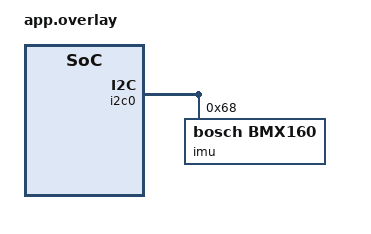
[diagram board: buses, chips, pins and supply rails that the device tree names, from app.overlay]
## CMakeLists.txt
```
# SPDX-License-Identifier: Apache-2.0

cmake_minimum_required(VERSION 3.20.0)

# Same board as samples/drv8235_diag: the Board Library's argus, which has the six
# DRV8235 nodes and coil_power.
get_filename_component(ARGUS_ROOT "${CMAKE_CURRENT_LIST_DIR}/../.." ABSOLUTE)
include(${ARGUS_ROOT}/cmake/drv8235_board_lib.cmake)
set(BOARD_DIRECTORIES "${ARGUS_BOARD_LIB}/boards/argus")
list(APPEND ZEPHYR_EXTRA_MODULES "${ARGUS_BOARD_LIB}")

# Add only the bosch,bmx160 binding: the repo root would define maxim,max17205 a second
# time next to the Board Library's copy, which devicetree rejects.
set(BMX160_DTS_ROOT ${CMAKE_CURRENT_BINARY_DIR}/bmx160_dts_root)
file(COPY ${ARGUS_ROOT}/dts/bindings/sensor/bosch,bmx160.yaml
     DESTINATION ${BMX160_DTS_ROOT}/dts/bindings/sensor)
list(APPEND DTS_ROOT ${BMX160_DTS_ROOT})

find_package(Zephyr REQUIRED HINTS $ENV{ZEPHYR_BASE})
project(drv8235_mag_hyst)

target_sources(app PRIVATE
        src/main.c
        ${ARGUS_ROOT}/src/drivers/drv8235.c
        ${ARGUS_ROOT}/src/drivers/bmx160.c
)

target_include_directories(app PRIVATE
        ${ARGUS_ROOT}/include
)
```

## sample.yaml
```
sample:
  name: Argus magnetorquer field sweep (C port of mag_hyst.py)
  description: Sweeps each coil from -1 to +1 and logs the BMX160 field and all coil voltages and currents
tests:
  sample.argus.drv8235_mag_hyst:
    build_only: true
    platform_allow:
      - argus/rp2350b/m33_0
    integration_platforms:
      - argus/rp2350b/m33_0
    tags:
      - drivers
      - i2c
      - actuator
```

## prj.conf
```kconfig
# SPDX-License-Identifier: Apache-2.0

CONFIG_GPIO=y
CONFIG_I2C=y
CONFIG_REGULATOR=y
CONFIG_SENSOR=y
CONFIG_LOG=y
# printk and log lines go straight to USB instead of through the 1 KB deferred
# buffer, which overflowed at start-up and dropped the init and fault lines
CONFIG_LOG_MODE_IMMEDIATE=y
# printk of the float columns
CONFIG_CBPRINTF_FP_SUPPORT=y
# Wait for the capture to open the USB port (DTR) before starting
CONFIG_UART_LINE_CTRL=y
# Pico die temp driver needs the ADC node enabled; off until we use it
CONFIG_RPI_PICO_TEMP=n
CONFIG_MAIN_STACK_SIZE=2048
```

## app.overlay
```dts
/* COIL_EN stays off until main() turns it on, as in samples/drv8235_diag. */
&coil_power {
	/delete-property/ regulator-boot-on;
};

/* The Board Library has no IMU node yet; same node as boards/cmu/argus/argus.dtsi. */
&i2c0 {
	imu: bmx160@68 {
		compatible = "bosch,bmx160";
		reg = <0x68>;
	};
};
```

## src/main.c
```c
/* SPDX-License-Identifier: Apache-2.0 */

/*
 * C port of FSW-mainboard scripts/mag_hyst.py. For each coil in turn (XP, XM, YP, YM,
 * ZP, ZM) it steps the throttle from -1.0 to +1.0 in 61 steps with every other coil at
 * 0 (brake), waits 200 ms, then prints the BMX160 field and every coil's voltage and
 * current. The CSV columns match mag_hyst.py, so python/compare_mag_hyst.py can match
 * the two logs row by row:
 *
 *     coil,step,time_ns,mag_x,mag_y,mag_z,voltage_xp..voltage_zm,current_xp..current_zm
 *
 * Field in uT, as Python IMU.mag(). Voltage and current are the C driver's readings
 * (its current scale is the EPS team's 3.7 / 192 A per count, not Python's 0.01451).
 * A failed read prints nan. A coil whose driver doesn't answer at start-up (panel not
 * connected) isn't swept and reads nan, as in python/mag_hyst.py.
 *
 * Differences from the script, none of which change the rows:
 * - It doesn't boot the satellite: only the peripheral rail, COIL_EN, the six coil
 *   drivers and the IMU are used, so the external watchdog is never armed.
 * - It starts 1 s after the capture opens the USB port, and stops if the port closes.
 *   Each new open runs a new sweep, so repeat runs don't need a reflash.
 * - Opening the port at 1200 baud reboots into BOOTSEL (the Arduino convention), so a
 *   new build can be flashed without holding BOOT.
 * - At the end it also coasts every coil and turns COIL_EN off.
 */

#include <math.h>
#include <string.h>

#include <zephyr/device.h>
#include <pico/bootrom.h>

#include <zephyr/drivers/i2c.h>
#include <zephyr/drivers/regulator.h>
#include <zephyr/drivers/sensor.h>
#include <zephyr/drivers/uart.h>
#include <zephyr/kernel.h>
#include <zephyr/sys/printk.h>
#include <zephyr/sys/util.h>

#include "argus/drivers/drv8235.h"

/* As in mag_hyst.py */
#define N_STEPS   60
#define SETTLE_MS 200

#define COIL_COUNT 6

/* mag_hyst.py COILS order */
static const char *const names[COIL_COUNT] = {"XP", "XM", "YP", "YM", "ZP", "ZM"};
static const struct device *const coils[COIL_COUNT] = {
	DEVICE_DT_GET(DT_NODELABEL(torque_xp)), DEVICE_DT_GET(DT_NODELABEL(torque_xm)),
	DEVICE_DT_GET(DT_NODELABEL(torque_yp)), DEVICE_DT_GET(DT_NODELABEL(torque_ym)),
	DEVICE_DT_GET(DT_NODELABEL(torque_zp)), DEVICE_DT_GET(DT_NODELABEL(torque_zm)),
};
/* For reading the configuration back directly, bypassing the driver */
static const struct i2c_dt_spec buses[COIL_COUNT] = {
	I2C_DT_SPEC_GET(DT_NODELABEL(torque_xp)), I2C_DT_SPEC_GET(DT_NODELABEL(torque_xm)),
	I2C_DT_SPEC_GET(DT_NODELABEL(torque_yp)), I2C_DT_SPEC_GET(DT_NODELABEL(torque_ym)),
	I2C_DT_SPEC_GET(DT_NODELABEL(torque_zp)), I2C_DT_SPEC_GET(DT_NODELABEL(torque_zm)),
};
static bool ready[COIL_COUNT];
static bool reported[COIL_COUNT]; /* first command failure already printed */

static const struct device *const coil_power = DEVICE_DT_GET(DT_NODELABEL(coil_power));
static const struct device *const imu = DEVICE_DT_GET(DT_NODELABEL(imu));
static const struct device *const console = DEVICE_DT_GET(DT_CHOSEN(zephyr_console));

/* Python: round(-1.0 + i * STEP_SIZE, 2). No step lands on a rounding tie. */
static float step_value(int i)
{
	double v = round((-1.0 + i * (2.0 / N_STEPS)) * 100.0) / 100.0;

	return (float)(v + 0.0); /* + 0.0 turns -0.0 into 0.0 */
}

/* 1200 baud is the request to reboot into BOOTSEL. */
static void bootsel_if_requested(void)
{
	uint32_t baud = 0;

	if (uart_line_ctrl_get(console, UART_LINE_CTRL_BAUD_RATE, &baud) == 0 && baud == 1200) {
		printk("1200 baud: rebooting into BOOTSEL\n");
		k_msleep(100);
		reset_usb_boot(0, 0);
	}
}

/* True while a terminal has the USB serial port open (DTR set). */
static bool terminal_open(void)
{
	uint32_t dtr = 0;

	if (uart_line_ctrl_get(console, UART_LINE_CTRL_DTR, &dtr) != 0) {
		return true; /* not a USB console: nothing to wait for */
	}
	return dtr != 0;
}

static int read_mag_ut(double ut[3])
{
	struct sensor_value v[3];
	int ret = device_is_ready(imu) ? sensor_sample_fetch_chan(imu, SENSOR_CHAN_MAGN_XYZ)
				       : -ENODEV;

	if (ret == 0) {
		ret = sensor_channel_get(imu, SENSOR_CHAN_MAGN_XYZ, v);
	}
	for (int i = 0; i < 3; ++i) {
		ut[i] = ret == 0 ? sensor_value_to_double(&v[i]) * 100.0 : (double)NAN; /* G -> uT */
	}
	return ret;
}

/* Every coil to 0 (brake), as the script does before and after the sweep. */
static void all_zero(void)
{
	for (int c = 0; c < COIL_COUNT; ++c) {
		if (ready[c]) {
			(void)drv8235_set_throttle(coils[c], 0.0f);
		}
	}
}

static void shut_down(void)
{
	for (int c = 0; c < COIL_COUNT; ++c) {
		int ret = drv8235_coast(coils[c]);

		if (ret != 0 && ready[c]) {
			printk("%s: coast failed (%d)\n", names[c], ret);
		}
	}
	int ret = regulator_disable(coil_power);

	if (ret != 0 || regulator_is_enabled(coil_power)) {
		printk("COIL_EN off failed (%d): REMOVE EXTERNAL POWER\n", ret);
	}
}

/* FAULT_STATUS (reg 0x00): bit 7 FAULT, 5 STALL, 4 OCP, 3 OVP, 2 TSD, 1 NPOR. */
static void print_faults(int c, const char *when)
{
	struct drv8235_faults f;
	int ret = drv8235_get_faults(coils[c], &f);

	if (ret != 0) {
		printk("%s: FAULT_STATUS read failed (%d) %s\n", names[c], ret, when);
		return;
	}
	/* A chip that has really reset is back at its defaults: EN_OUT (CONFIG0 bit 7) and
	 * I2C_BC/PMODE (CONFIG4 bits 3:2) clear. Still set means it kept its configuration.
	 */
	uint8_t config0 = 0, config4 = 0;
	int r0 = i2c_reg_read_byte_dt(&buses[c], 0x09, &config0);
	int r4 = i2c_reg_read_byte_dt(&buses[c], 0x0D, &config4);

	printk("%s: FAULT_STATUS 0x%02x %s (NPOR bit %d; COIL_EN %s)", names[c], f.raw, when,
	       (f.raw >> 1) & 1, regulator_is_enabled(coil_power) ? "on" : "off");
	if (r0 == 0 && r4 == 0) {
		printk(" CONFIG0 0x%02x (EN_OUT %d) CONFIG4 0x%02x (I2C_BC/PMODE %d%d)\n", config0,
		       (config0 >> 7) & 1, config4, (config4 >> 3) & 1, (config4 >> 2) & 1);
	} else {
		printk(" config read failed (%d, %d)\n", r0, r4);
	}
}

static bool bring_up(void)
{
	/* The Python HAL turns COIL_EN on at import; regulator-fixed waits 100 ms. */
	int ret = regulator_enable(coil_power);
	bool any = false;

	if (ret != 0) {
		printk("COIL_EN on failed (%d)\n", ret);
		return false;
	}
	for (int c = 0; c < COIL_COUNT; ++c) {
		uint8_t status;

		/* Just powered by COIL_EN: NPOR (bit 1) should be set until init clears it. */
		if (i2c_reg_read_byte_dt(&buses[c], 0x00, &status) == 0) {
			printk("%s: FAULT_STATUS 0x%02x before init (NPOR bit %d)\n", names[c],
			       status, (status >> 1) & 1);
		}
		ret = drv8235_init(coils[c]);
		ready[c] = ret == 0;
		any |= ready[c];
		printk("%s: init %s (%d)\n", names[c], ready[c] ? "ok" : "FAILED", ret);
		if (ready[c]) {
			print_faults(c, "after init");
		}
	}
	if (!any) {
		printk("no coil driver answered; is VBATT connected?\n");
	}
	return any;
}

/* One row: the coil being swept, its step, then the field and all twelve readings. */
static void print_row(int coil, float step, int64_t time_ns, uint32_t *mag_cycles)
{
	double mag[3];
	double volts[COIL_COUNT], amps[COIL_COUNT];
	uint32_t start = k_cycle_get_32();

	(void)read_mag_ut(mag);
	*mag_cycles = k_cycle_get_32() - start;

	for (int c = 0; c < COIL_COUNT; ++c) {
		float v, a;

		if (ready[c] && drv8235_read_voltage_current(coils[c], &v, &a) == 0) {
			volts[c] = v;
			amps[c] = a;
		} else {
			volts[c] = amps[c] = (double)NAN;
		}
	}
	printk("%s,%.2f,%lld,%.6f,%.6f,%.6f", names[coil], (double)step, (long long)time_ns,
	       mag[0], mag[1], mag[2]);
	for (int c = 0; c < COIL_COUNT; ++c) {
		printk(",%.5f", volts[c]);
	}
	for (int c = 0; c < COIL_COUNT; ++c) {
		printk(",%.5f", amps[c]);
	}
	printk("\n");
}

static void sweep(void)
{
	memset(reported, 0, sizeof(reported));
	printk("drv8235_mag_hyst (C): %d coils x %d steps, %d ms settle\n", COIL_COUNT,
	       N_STEPS + 1, SETTLE_MS);
	printk("IMU: %s\n", device_is_ready(imu) ? "ready" : "NOT READY (mag columns will be nan)");
	if (!bring_up()) {
		shut_down();
		printk("ABORT\n");
		return;
	}

	printk("coil,step,time_ns,mag_x,mag_y,mag_z,voltage_xp,voltage_xm,voltage_yp,"
	       "voltage_ym,voltage_zp,voltage_zm,current_xp,current_xm,current_yp,"
	       "current_ym,current_zp,current_zm\n");

	all_zero();

	uint64_t mag_cycles_total = 0;
	uint32_t mag_count = 0;
	bool stopped = false;

	for (int coil = 0; coil < COIL_COUNT && !stopped; ++coil) {
		if (!ready[coil]) {
			printk("%s: not connected; skipped\n", names[coil]);
			continue;
		}
		for (int i = 0; i <= N_STEPS; ++i) {
			if (!terminal_open()) {
				printk("terminal closed; stopping\n");
				stopped = true;
				break;
			}
			float step = step_value(i);

			for (int c = 0; c < COIL_COUNT; ++c) {
				if (!ready[c]) {
					continue;
				}
				int ret = drv8235_set_throttle(coils[c], c == coil ? step : 0.0f);

				if (ret != 0 && !reported[c]) {
					/* Once per coil, with the chip's view, not on every step. */
					reported[c] = true;
					printk("%s: set throttle failed (%d); further failures not "
					       "printed\n", names[c], ret);
					print_faults(c, "at first failure");
				}
			}
			k_msleep(SETTLE_MS);

			int64_t time_ns = (int64_t)k_ticks_to_ns_floor64(k_uptime_ticks());
			uint32_t cycles;

			print_row(coil, step, time_ns, &cycles);
			mag_cycles_total += cycles;
			mag_count++;
		}
	}

	all_zero();
	if (mag_count > 0) {
		printk("Average mag measurement time (ns): %llu\n",
		       (unsigned long long)k_cyc_to_ns_floor64(mag_cycles_total / mag_count));
	}
	shut_down();
	printk("DONE\n");
}

int main(void)
{
	for (;;) {
		/* Start when the capture opens the port, so no rows are lost. The second
		 * lets the host finish opening it before the first lines go out.
		 */
		while (!terminal_open()) {
			k_msleep(100);
		}
		k_msleep(1000);
		bootsel_if_requested();
		sweep();
		/* Next sweep on the next open */
		while (terminal_open()) {
			bootsel_if_requested();
			k_msleep(100);
		}
	}
	return 0;
}
```
